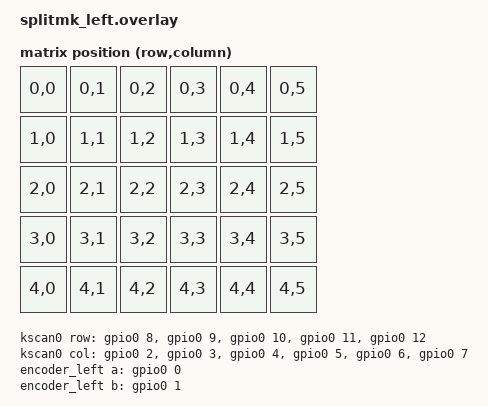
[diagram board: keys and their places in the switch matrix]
/*
 * SplitMK Left Hand
 * god please eviserate the person who made C
 * (28 active keys + 2 TRNS)
 * Encoder: A=GP0  B=GP1  no SW :sad:
 * 
 * Diode orientation: COL2ROW obvously
 */

/ {
    chosen {
        zmk,kscan    = &kscan0;
        zmk,matrix_transform = &matrix_transform;
    };

    /* ── Key matrix  */
    kscan0: kscan {
        compatible = "zmk,kscan-gpio-matrix";
        label = "KSCAN";
        diode-direction = "col2row";

        row-gpios
            = <&gpio0  8 (GPIO_ACTIVE_HIGH | GPIO_PULL_DOWN)>   /* ROW0 GP8  */
            , <&gpio0  9 (GPIO_ACTIVE_HIGH | GPIO_PULL_DOWN)>   /* ROW1 GP9  */
            , <&gpio0  10 (GPIO_ACTIVE_HIGH | GPIO_PULL_DOWN)>   /* ROW2 GP10  */
            , <&gpio0  11 (GPIO_ACTIVE_HIGH | GPIO_PULL_DOWN)>   /* ROW3 GP11  */
            , <&gpio0  12 (GPIO_ACTIVE_HIGH | GPIO_PULL_DOWN)>   /* ROW4 GP12  */
            ;

        col-gpios
            = <&gpio0  2 GPIO_ACTIVE_HIGH>   /* COL0 GP2  */
            , <&gpio0  3 GPIO_ACTIVE_HIGH>   /* COL1 GP3  */
            , <&gpio0  4 GPIO_ACTIVE_HIGH>   /* COL2 GP4  */
            , <&gpio0  5 GPIO_ACTIVE_HIGH>   /* COL3 GP5  */
            , <&gpio0  6 GPIO_ACTIVE_HIGH>   /* COL4 GP6 */
            , <&gpio0  7 GPIO_ACTIVE_HIGH>   /* COL5 GP7 */
            ;
    };

    /* ── Matrix transform */
    matrix_transform: keymap_transform_0 {
        compatible = "zmk,matrix-transform";
        columns = <6>;
        rows = <5>;
        /*
         * map of actuall positions
         * Row 4 cols 4-5 are unused (TRNS) on your 28-key design
         */
        map = <
            RC(0,0) RC(0,1) RC(0,2) RC(0,3) RC(0,4) RC(0,5)
            RC(1,0) RC(1,1) RC(1,2) RC(1,3) RC(1,4) RC(1,5)
            RC(2,0) RC(2,1) RC(2,2) RC(2,3) RC(2,4) RC(2,5)
            RC(3,0) RC(3,1) RC(3,2) RC(3,3) RC(3,4) RC(3,5)
            RC(4,0) RC(4,1) RC(4,2) RC(4,3) RC(4,4) RC(4,5)
        >;
    };

    /* ── Rotary encoder  */
    encoder_left: encoder_left {
        compatible = "alps,ec11";
        label = "LEFT_ENCODER";
        a-gpios = <&gpio0 0 (GPIO_ACTIVE_HIGH | GPIO_PULL_UP)>;
        b-gpios = <&gpio0 1 (GPIO_ACTIVE_HIGH | GPIO_PULL_UP)>;
        steps = <80>;                 /* 20 detents × 4 = 80 steps */
        status = "okay";
    };

    sensors {
        compatible = "zmk,keymap-sensors";
        sensors = <&encoder_left>;
        triggers-per-rotation = <20>;
    };
};
